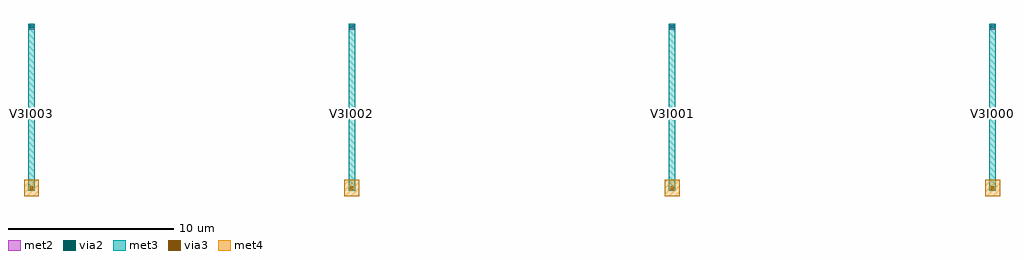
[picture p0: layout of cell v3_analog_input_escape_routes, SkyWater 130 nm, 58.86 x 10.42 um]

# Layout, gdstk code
import gdstk
lib = gdstk.Library(unit=1e-6, precision=1e-09)
def R(c, l, rs):  # rectangles x0, y0, x1, y1
    for r in rs: c.add(gdstk.rectangle(r[:2], r[2:], *l))
def A(c, l, x, y, w, h, nx, ny, dx, dy):  # array of equal rectangles
    R(c, l, [(x+i*dx, y+j*dy, x+i*dx+w, y+j*dy+h) for i in range(nx) for j in range(ny)])
met2 = (69, 20)
via2 = (69, 44)
met3 = (70, 20)
via3 = (70, 44)
met4 = (71, 20)

v3_analog_input_escape_r = lib.new_cell('v3_analog_input_escape_routes')
A(v3_analog_input_escape_r, met2, 94.16, 10.05, 0.28, 0.37, 4, 1, 19.32, 0)
A(v3_analog_input_escape_r, via2, 94.2, 10.135, 0.2, 0.2, 4, 1, 19.32, 0)
A(v3_analog_input_escape_r, met3, 94.1, 0.34, 0.4, 10.08, 4, 1, 19.32, 0)
A(v3_analog_input_escape_r, via3, 94.2, 0.4, 0.2, 0.2, 4, 1, 19.32, 0)
A(v3_analog_input_escape_r, met4, 93.85, 0, 0.9, 1, 4, 1, 19.32, 0)
v3_analog_input_escape_r.add(gdstk.Label('V3I000', (152.26,5), layer=70, texttype=5))
v3_analog_input_escape_r.add(gdstk.Label('V3I001', (132.94,5), layer=70, texttype=5))
v3_analog_input_escape_r.add(gdstk.Label('V3I002', (113.62,5), layer=70, texttype=5))
v3_analog_input_escape_r.add(gdstk.Label('V3I003', (94.3,5), layer=70, texttype=5))

lib.write_gds('v3_analog_input_escape_routes.gds')
